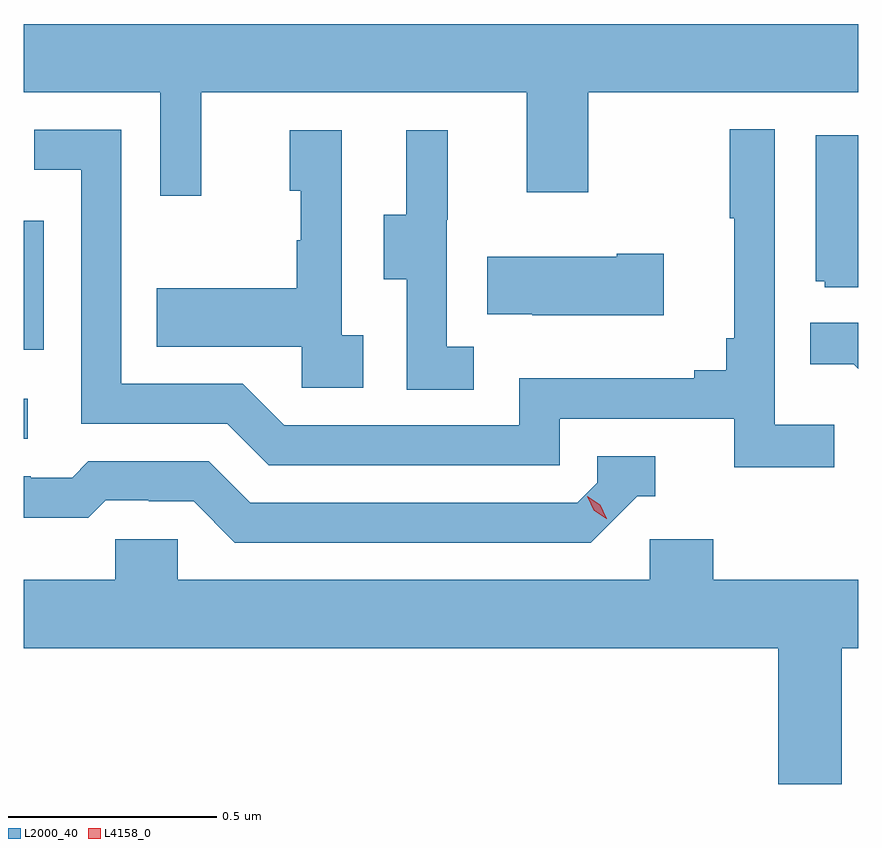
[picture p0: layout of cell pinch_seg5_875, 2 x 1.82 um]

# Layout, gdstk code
import gdstk
lib = gdstk.Library(unit=1e-6, precision=1e-09)
def R(c, l, rs):  # rectangles x0, y0, x1, y1
    for r in rs: c.add(gdstk.rectangle(r[:2], r[2:], *l))
def P(c, l, *ps):  # polygons
    for p in ps: c.add(gdstk.Polygon(p, *l))
L2000_40 = (2000, 40)
L4158_0 = (4158, 0)

pinch_seg5_875 = lib.new_cell('pinch_seg5_875')
R(pinch_seg5_875, L2000_40, [(821.454,879.906,821.464,880.002), (821.454,880.119,821.502,880.428)])
P(pinch_seg5_875, L2000_40, [(821.454,880.736),(821.781,880.736),(821.781,880.488),(821.879,880.488),(821.879,880.736),(822.659,880.736),(822.659,880.497),(822.807,880.497),(822.807,880.736),(823.454,880.736),(823.454,880.9),(821.454,880.9)],
  [(823.396,879.94),(823.254,879.94),(823.254,880.648),(823.146,880.648),(823.146,880.435),(823.157,880.435),(823.157,880.147),(823.138,880.147),(823.138,880.07),(823.061,880.07),(823.061,880.051),(822.642,880.051),(822.642,879.939),(822.078,879.939),(821.979,880.038),(821.688,880.038),(821.688,880.647),(821.479,880.647),(821.479,880.551),(821.592,880.551),(821.592,879.942),(821.942,879.942),(822.041,879.843),(822.738,879.843),(822.738,879.954),(823.157,879.954),(823.157,879.838),(823.396,879.838)],
  [(822.532,880.127),(822.468,880.127),(822.468,880.431),(822.47,880.431),(822.47,880.645),(822.371,880.645),(822.371,880.443),(822.317,880.443),(822.317,880.288),(822.372,880.288),(822.372,880.024),(822.532,880.024)],
  [(822.268,880.154),(822.216,880.154),(822.216,880.645),(822.092,880.645),(822.092,880.5),(822.118,880.5),(822.118,880.382),(822.108,880.382),(822.108,880.267),(821.773,880.267),(821.773,880.127),(822.12,880.127),(822.12,880.029),(822.268,880.029)],
  [(823.454,880.633),(823.352,880.633),(823.352,880.284),(823.374,880.284),(823.374,880.269),(823.454,880.269)],
  [(822.988,880.35),(822.875,880.35),(822.875,880.342),(822.565,880.342),(822.565,880.205),(822.673,880.205),(822.673,880.202),(822.988,880.202)],
  [(823.454,880.184),(823.339,880.184),(823.339,880.085),(823.443,880.085),(823.454,880.074)],
  [(822.924,879.768),(822.967,879.768),(822.967,879.864),(822.828,879.864),(822.828,879.801),(822.78,879.753),(821.997,879.753),(821.898,879.852),(821.609,879.852),(821.57,879.813),(821.471,879.813),(821.471,879.816),(821.454,879.816),(821.454,879.717),(821.609,879.717),(821.651,879.759),(821.754,879.759),(821.754,879.756),(821.861,879.756),(821.96,879.657),(822.813,879.657)],
  [(823.414,879.404),(823.454,879.404),(823.454,879.568),(823.106,879.568),(823.106,879.666),(822.954,879.666),(822.954,879.568),(821.823,879.568),(821.823,879.666),(821.673,879.666),(821.673,879.568),(821.454,879.568),(821.454,879.404),(823.262,879.404),(823.262,879.079),(823.414,879.079)])
P(pinch_seg5_875, L4158_0, [(822.85,879.714),(822.82,879.735),(822.805,879.768),(822.805,879.768),(822.805,879.768),(822.835,879.748),(822.851,879.715),(822.851,879.714)])

lib.write_gds('pinch_seg5_875.gds')
